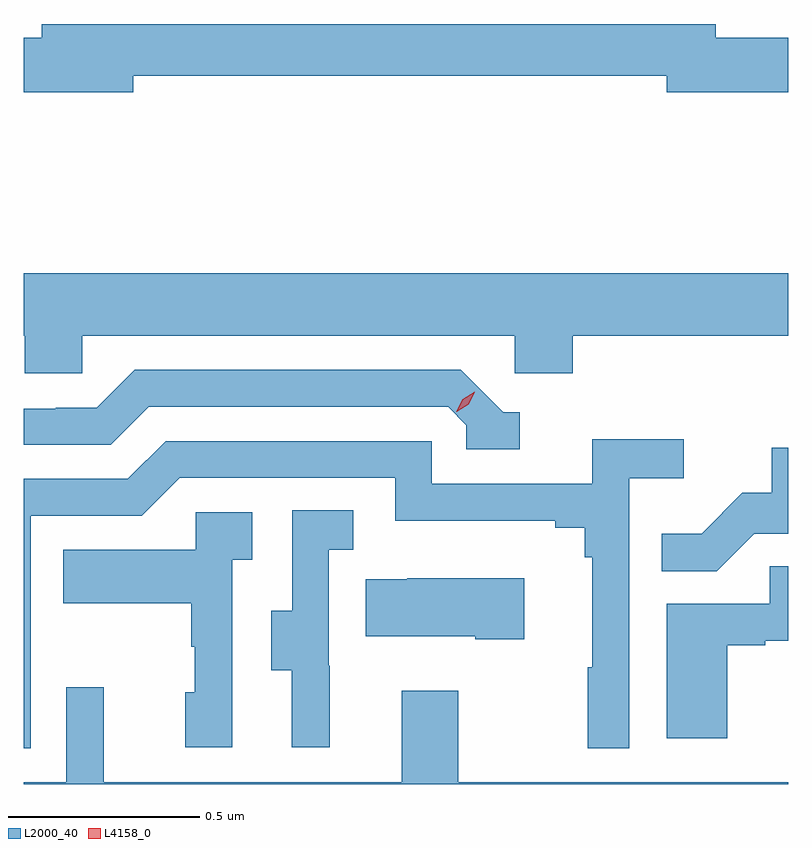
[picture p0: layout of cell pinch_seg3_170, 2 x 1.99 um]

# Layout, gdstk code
import gdstk
lib = gdstk.Library(unit=1e-6, precision=1e-09)
def P(c, l, *ps):  # polygons
    for p in ps: c.add(gdstk.Polygon(p, *l))
L2000_40 = (2000, 40)
L4158_0 = (4158, 0)

pinch_seg3_170 = lib.new_cell('pinch_seg3_170')
P(pinch_seg3_170, L2000_40, [(1103.008,709.588),(1104.404,709.588),(1104.404,709.546),(1104.722,709.546),(1104.722,709.688),(1104.532,709.688),(1104.532,709.724),(1102.769,709.724),(1102.769,709.688),(1102.722,709.688),(1102.722,709.546),(1103.008,709.546)],
  [(1102.875,708.908),(1104.006,708.908),(1104.006,708.81),(1104.158,708.81),(1104.158,708.908),(1104.722,708.908),(1104.722,709.072),(1102.722,709.072),(1102.722,708.908),(1102.725,708.908),(1102.725,708.81),(1102.875,708.81)],
  [(1104.019,708.708),(1103.976,708.708),(1103.865,708.819),(1103.012,708.819),(1102.913,708.72),(1102.806,708.72),(1102.806,708.717),(1102.722,708.717),(1102.722,708.624),(1102.95,708.624),(1103.049,708.723),(1103.832,708.723),(1103.88,708.675),(1103.88,708.612),(1104.019,708.612)],
  [(1102.74,708.438),(1103.031,708.438),(1103.13,708.537),(1103.694,708.537),(1103.694,708.425),(1104.113,708.425),(1104.113,708.406),(1104.19,708.406),(1104.19,708.329),(1104.209,708.329),(1104.209,708.041),(1104.198,708.041),(1104.198,707.829),(1104.306,707.829),(1104.306,708.536),(1104.448,708.536),(1104.448,708.638),(1104.209,708.638),(1104.209,708.522),(1103.79,708.522),(1103.79,708.633),(1103.093,708.633),(1102.994,708.534),(1102.722,708.534),(1102.722,707.829),(1102.74,707.829)],
  [(1104.633,708.39),(1104.722,708.39),(1104.722,708.615),(1104.679,708.615),(1104.679,708.498),(1104.602,708.498),(1104.495,708.391),(1104.391,708.391),(1104.391,708.292),(1104.535,708.292)],
  [(1103.522,708.045),(1103.52,708.045),(1103.52,708.349),(1103.584,708.349),(1103.584,708.452),(1103.424,708.452),(1103.424,708.189),(1103.369,708.189),(1103.369,708.034),(1103.423,708.034),(1103.423,707.832),(1103.522,707.832)],
  [(1103.268,708.323),(1103.32,708.323),(1103.32,708.447),(1103.172,708.447),(1103.172,708.349),(1102.825,708.349),(1102.825,708.209),(1103.16,708.209),(1103.16,708.095),(1103.17,708.095),(1103.17,707.976),(1103.144,707.976),(1103.144,707.832),(1103.268,707.832)],
  [(1104.562,708.099),(1104.662,708.099),(1104.662,708.111),(1104.722,708.111),(1104.722,708.305),(1104.673,708.305),(1104.673,708.207),(1104.404,708.207),(1104.404,707.856),(1104.562,707.856)],
  [(1104.031,708.274),(1103.725,708.274),(1103.725,708.271),(1103.617,708.271),(1103.617,708.122),(1103.903,708.122),(1103.903,708.115),(1104.031,708.115)],
  [(1104.722,707.74),(1103.859,707.74),(1103.859,707.98),(1103.711,707.98),(1103.711,707.74),(1102.931,707.74),(1102.931,707.989),(1102.833,707.989),(1102.833,707.74),(1102.722,707.74),(1102.722,707.736),(1104.722,707.736)])
P(pinch_seg3_170, L4158_0, [(1103.854,708.71),(1103.854,708.71),(1103.871,708.743),(1103.902,708.762),(1103.902,708.762),(1103.902,708.762),(1103.886,708.729),(1103.855,708.71)])

lib.write_gds('pinch_seg3_170.gds')
